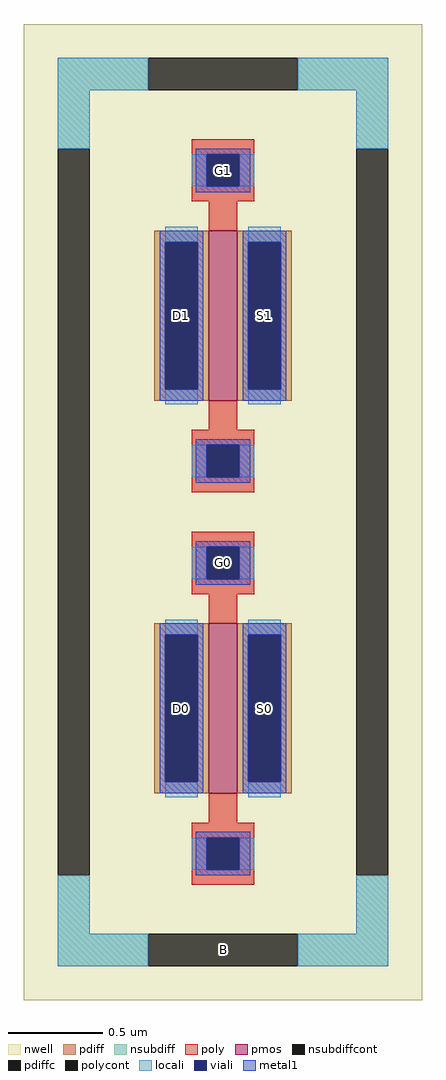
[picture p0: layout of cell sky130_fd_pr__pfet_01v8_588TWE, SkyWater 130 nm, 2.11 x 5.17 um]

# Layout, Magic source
magic
tech sky130A
magscale 1 2
<< nwell >>
rect -211 -517 211 517
<< pmos >>
rect -15 118 15 298
rect -15 -298 15 -118
<< pdiff >>
rect -73 286 -15 298
rect -73 130 -61 286
rect -27 130 -15 286
rect -73 118 -15 130
rect 15 286 73 298
rect 15 130 27 286
rect 61 130 73 286
rect 15 118 73 130
rect -73 -130 -15 -118
rect -73 -286 -61 -130
rect -27 -286 -15 -130
rect -73 -298 -15 -286
rect 15 -130 73 -118
rect 15 -286 27 -130
rect 61 -286 73 -130
rect 15 -298 73 -286
<< pdiffc >>
rect -61 130 -27 286
rect 27 130 61 286
rect -61 -286 -27 -130
rect 27 -286 61 -130
<< nsubdiff >>
rect -175 447 -79 481
rect 79 447 175 481
rect -175 385 -141 447
rect 141 385 175 447
rect -175 -447 -141 -385
rect 141 -447 175 -385
rect -175 -481 -79 -447
rect 79 -481 175 -447
<< nsubdiffcont >>
rect -79 447 79 481
rect -175 -385 -141 385
rect 141 -385 175 385
rect -79 -481 79 -447
<< poly >>
rect -33 379 33 395
rect -33 345 -17 379
rect 17 345 33 379
rect -33 329 33 345
rect -15 298 15 329
rect -15 87 15 118
rect -33 71 33 87
rect -33 37 -17 71
rect 17 37 33 71
rect -33 21 33 37
rect -33 -37 33 -21
rect -33 -71 -17 -37
rect 17 -71 33 -37
rect -33 -87 33 -71
rect -15 -118 15 -87
rect -15 -329 15 -298
rect -33 -345 33 -329
rect -33 -379 -17 -345
rect 17 -379 33 -345
rect -33 -395 33 -379
<< polycont >>
rect -17 345 17 379
rect -17 37 17 71
rect -17 -71 17 -37
rect -17 -379 17 -345
<< locali >>
rect -175 447 -79 481
rect 79 447 175 481
rect -175 385 -141 447
rect 141 385 175 447
rect -33 345 -17 379
rect 17 345 33 379
rect -61 286 -27 302
rect -61 114 -27 130
rect 27 286 61 302
rect 27 114 61 130
rect -33 37 -17 71
rect 17 37 33 71
rect -33 -71 -17 -37
rect 17 -71 33 -37
rect -61 -130 -27 -114
rect -61 -302 -27 -286
rect 27 -130 61 -114
rect 27 -302 61 -286
rect -33 -379 -17 -345
rect 17 -379 33 -345
rect -175 -447 -141 -385
rect 141 -447 175 -385
rect -175 -481 -79 -447
rect 79 -481 175 -447
<< viali >>
rect -17 345 17 379
rect -61 130 -27 286
rect 27 130 61 286
rect -17 37 17 71
rect -17 -71 17 -37
rect -61 -286 -27 -130
rect 27 -286 61 -130
rect -17 -379 17 -345
<< metal1 >>
rect -29 379 29 385
rect -29 345 -17 379
rect 17 345 29 379
rect -29 339 29 345
rect -67 286 -21 298
rect -67 130 -61 286
rect -27 130 -21 286
rect -67 118 -21 130
rect 21 286 67 298
rect 21 130 27 286
rect 61 130 67 286
rect 21 118 67 130
rect -29 71 29 77
rect -29 37 -17 71
rect 17 37 29 71
rect -29 31 29 37
rect -29 -37 29 -31
rect -29 -71 -17 -37
rect 17 -71 29 -37
rect -29 -77 29 -71
rect -67 -130 -21 -118
rect -67 -286 -61 -130
rect -27 -286 -21 -130
rect -67 -298 -21 -286
rect 21 -130 67 -118
rect 21 -286 27 -130
rect 61 -286 67 -130
rect 21 -298 67 -286
rect -29 -345 29 -339
rect -29 -379 -17 -345
rect 17 -379 29 -345
rect -29 -385 29 -379
<< labels >>
rlabel nsubdiffcont 0 -464 0 -464 0 B
port 50 nsew
rlabel pdiffc -44 -208 -44 -208 0 D0
port 51 nsew
rlabel pdiffc 44 -208 44 -208 0 S0
port 52 nsew
rlabel polycont 0 -54 0 -54 0 G0
port 53 nsew
rlabel pdiffc -44 208 -44 208 0 D1
port 54 nsew
rlabel pdiffc 44 208 44 208 0 S1
port 55 nsew
rlabel polycont 0 362 0 362 0 G1
port 56 nsew
<< properties >>
string FIXED_BBOX -158 -464 158 464
string gencell sky130_fd_pr__pfet_01v8
string library sky130
string parameters w 0.9 l 0.15 m 2 nf 1 diffcov 100 polycov 100 guard 1 glc 1 grc 1 gtc 1 gbc 1 tbcov 100 rlcov 100 topc 1 botc 1 poverlap 0 doverlap 1 lmin 0.15 wmin 0.42 class mosfet compatible {sky130_fd_pr__pfet_01v8  sky130_fd_pr__pfet_01v8_lvt sky130_fd_pr__pfet_01v8_hvt  sky130_fd_pr__pfet_g5v0d10v5} full_metal 1 viasrc 100 viadrn 100 viagate 100 viagb 0 viagr 0 viagl 0 viagt 0 doports 1 ad 0.261 as 0.261 pd 2.38 ps 2.38 nrd 0.322222222222222 nrs 0.322222222222222 sa 0 sb 0 sd 0 mult 2
<< end >>
